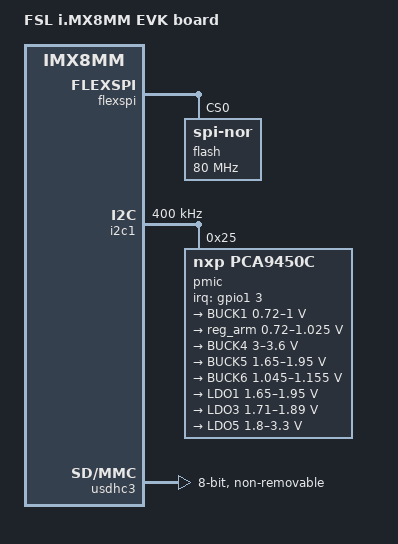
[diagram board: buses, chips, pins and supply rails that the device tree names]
// SPDX-License-Identifier: (GPL-2.0+ OR MIT)
/*
 * Copyright 2019-2020 NXP
 */

/dts-v1/;

#include <dt-bindings/usb/pd.h>
#include "imx8mm-evk.dtsi"

/ {
	model = "FSL i.MX8MM EVK board";
	compatible = "fsl,imx8mm-evk", "fsl,imx8mm";

	aliases {
		spi0 = &flexspi;
	};
};


&A53_0 {
	cpu-supply = <&reg_arm>;
};

&A53_1 {
	cpu-supply = <&reg_arm>;
};

&A53_2 {
	cpu-supply = <&reg_arm>;
};

&A53_3 {
	cpu-supply = <&reg_arm>;
};

&ddrc {
	operating-points-v2 = <&ddrc_opp_table>;

	ddrc_opp_table: opp-table {
		compatible = "operating-points-v2";

		opp-25M {
			opp-hz = /bits/ 64 <25000000>;
		};

		opp-100M {
			opp-hz = /bits/ 64 <100000000>;
		};

		opp-750M {
			opp-hz = /bits/ 64 <750000000>;
		};
	};
};

&flexspi {
	pinctrl-names = "default";
	pinctrl-0 = <&pinctrl_flexspi>;
	status = "okay";

	flash@0 {
		reg = <0>;
		#address-cells = <1>;
		#size-cells = <1>;
		compatible = "jedec,spi-nor";
		spi-max-frequency = <80000000>;
		spi-tx-bus-width = <1>;
		spi-rx-bus-width = <4>;
	};
};

&i2c1 {
	clock-frequency = <400000>;
	pinctrl-names = "default";
	pinctrl-0 = <&pinctrl_i2c1>;
	status = "okay";

	pmic@25 {
		compatible = "nxp,pca9450c";
		reg = <0x25>;
		pinctrl-names = "default";
		pinctrl-0 = <&pinctrl_pmic>;
		interrupt-parent = <&gpio1>;
		interrupts = <3 IRQ_TYPE_LEVEL_LOW>;

		regulators {
			BUCK1 {
				regulator-name = "BUCK1";
				regulator-min-microvolt = <720000>;
				regulator-max-microvolt = <1000000>;
				regulator-boot-on;
				regulator-always-on;
				regulator-ramp-delay = <3125>;
			};

			reg_arm: BUCK2 {
				regulator-name = "BUCK2";
				regulator-min-microvolt = <720000>;
				regulator-max-microvolt = <1025000>;
				regulator-boot-on;
				regulator-always-on;
				regulator-ramp-delay = <3125>;
				nxp,dvs-run-voltage = <950000>;
				nxp,dvs-standby-voltage = <850000>;
			};

			BUCK4 {
				regulator-name = "BUCK4";
				regulator-min-microvolt = <3000000>;
				regulator-max-microvolt = <3600000>;
				regulator-boot-on;
				regulator-always-on;
			};

			BUCK5 {
				regulator-name = "BUCK5";
				regulator-min-microvolt = <1650000>;
				regulator-max-microvolt = <1950000>;
				regulator-boot-on;
				regulator-always-on;
			};

			BUCK6 {
				regulator-name = "BUCK6";
				regulator-min-microvolt = <1045000>;
				regulator-max-microvolt = <1155000>;
				regulator-boot-on;
				regulator-always-on;
			};

			LDO1 {
				regulator-name = "LDO1";
				regulator-min-microvolt = <1650000>;
				regulator-max-microvolt = <1950000>;
				regulator-boot-on;
				regulator-always-on;
			};

			LDO3 {
				regulator-name = "LDO3";
				regulator-min-microvolt = <1710000>;
				regulator-max-microvolt = <1890000>;
				regulator-boot-on;
				regulator-always-on;
			};

			LDO5 {
				regulator-name = "LDO5";
				regulator-min-microvolt = <1800000>;
				regulator-max-microvolt = <3300000>;
				regulator-boot-on;
				regulator-always-on;
			};
		};
	};
};

&usdhc3 {
	assigned-clocks = <&clk IMX8MM_CLK_USDHC3_ROOT>;
	assigned-clock-rates = <400000000>;
	pinctrl-names = "default", "state_100mhz", "state_200mhz";
	pinctrl-0 = <&pinctrl_usdhc3>;
	pinctrl-1 = <&pinctrl_usdhc3_100mhz>;
	pinctrl-2 = <&pinctrl_usdhc3_200mhz>;
	bus-width = <8>;
	non-removable;
	status = "okay";
};

&iomuxc {
	pinctrl_flexspi: flexspigrp {
		fsl,pins = <
			MX8MM_IOMUXC_NAND_ALE_QSPI_A_SCLK               0x1c2
			MX8MM_IOMUXC_NAND_CE0_B_QSPI_A_SS0_B            0x82
			MX8MM_IOMUXC_NAND_DATA00_QSPI_A_DATA0           0x82
			MX8MM_IOMUXC_NAND_DATA01_QSPI_A_DATA1           0x82
			MX8MM_IOMUXC_NAND_DATA02_QSPI_A_DATA2           0x82
			MX8MM_IOMUXC_NAND_DATA03_QSPI_A_DATA3           0x82
		>;
	};

	pinctrl_usdhc3: usdhc3grp {
		fsl,pins = <
			MX8MM_IOMUXC_NAND_WE_B_USDHC3_CLK               0x190
			MX8MM_IOMUXC_NAND_WP_B_USDHC3_CMD               0x1d0
			MX8MM_IOMUXC_NAND_DATA04_USDHC3_DATA0           0x1d0
			MX8MM_IOMUXC_NAND_DATA05_USDHC3_DATA1           0x1d0
			MX8MM_IOMUXC_NAND_DATA06_USDHC3_DATA2           0x1d0
			MX8MM_IOMUXC_NAND_DATA06_USDHC3_DATA2           0x1d0
			MX8MM_IOMUXC_NAND_DATA07_USDHC3_DATA3           0x1d0
			MX8MM_IOMUXC_NAND_RE_B_USDHC3_DATA4             0x1d0
			MX8MM_IOMUXC_NAND_CE2_B_USDHC3_DATA5            0x1d0
			MX8MM_IOMUXC_NAND_CE3_B_USDHC3_DATA6            0x1d0
			MX8MM_IOMUXC_NAND_CLE_USDHC3_DATA7              0x1d0
			MX8MM_IOMUXC_NAND_CE1_B_USDHC3_STROBE           0x190
		>;
	};

	pinctrl_usdhc3_100mhz: usdhc3-100mhzgrp {
		fsl,pins = <
			MX8MM_IOMUXC_NAND_WE_B_USDHC3_CLK               0x194
			MX8MM_IOMUXC_NAND_WP_B_USDHC3_CMD               0x1d4
			MX8MM_IOMUXC_NAND_DATA04_USDHC3_DATA0           0x1d4
			MX8MM_IOMUXC_NAND_DATA05_USDHC3_DATA1           0x1d4
			MX8MM_IOMUXC_NAND_DATA06_USDHC3_DATA2           0x1d4
			MX8MM_IOMUXC_NAND_DATA07_USDHC3_DATA3           0x1d4
			MX8MM_IOMUXC_NAND_RE_B_USDHC3_DATA4             0x1d4
			MX8MM_IOMUXC_NAND_CE2_B_USDHC3_DATA5            0x1d4
			MX8MM_IOMUXC_NAND_CE3_B_USDHC3_DATA6            0x1d4
			MX8MM_IOMUXC_NAND_CLE_USDHC3_DATA7              0x1d4
			MX8MM_IOMUXC_NAND_CE1_B_USDHC3_STROBE           0x194
		>;
	};

	pinctrl_usdhc3_200mhz: usdhc3-200mhzgrp {
		fsl,pins = <
			MX8MM_IOMUXC_NAND_WE_B_USDHC3_CLK               0x196
			MX8MM_IOMUXC_NAND_WP_B_USDHC3_CMD               0x1d6
			MX8MM_IOMUXC_NAND_DATA04_USDHC3_DATA0           0x1d6
			MX8MM_IOMUXC_NAND_DATA05_USDHC3_DATA1           0x1d6
			MX8MM_IOMUXC_NAND_DATA06_USDHC3_DATA2           0x1d6
			MX8MM_IOMUXC_NAND_DATA07_USDHC3_DATA3           0x1d6
			MX8MM_IOMUXC_NAND_RE_B_USDHC3_DATA4             0x1d6
			MX8MM_IOMUXC_NAND_CE2_B_USDHC3_DATA5            0x1d6
			MX8MM_IOMUXC_NAND_CE3_B_USDHC3_DATA6            0x1d6
			MX8MM_IOMUXC_NAND_CLE_USDHC3_DATA7              0x1d6
			MX8MM_IOMUXC_NAND_CE1_B_USDHC3_STROBE           0x196
		>;
	};
};
